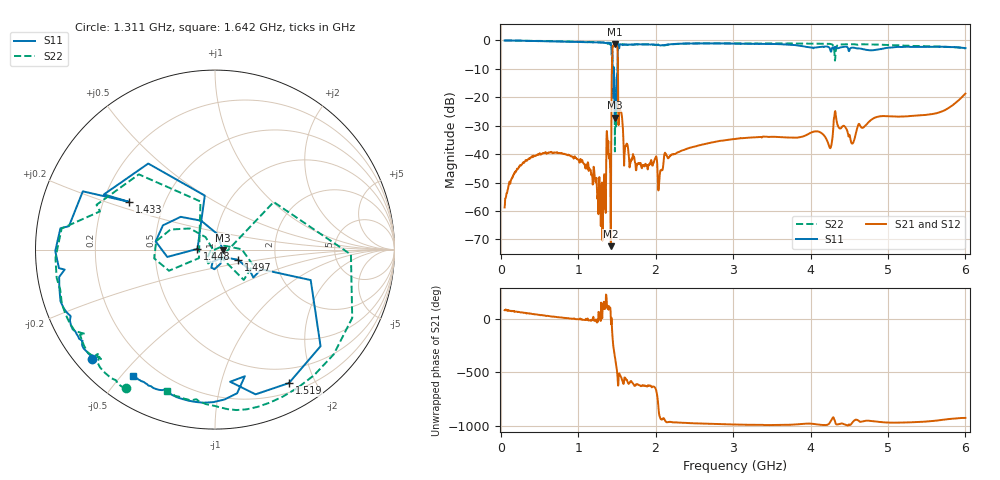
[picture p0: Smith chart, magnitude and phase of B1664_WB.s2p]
! Matrix data file written by TouchstoneData, EPCOS AG
! FILENAME: "B1664.WB.1.snp"
! COMMENT: "(B1664.WB.1.s2p)"
! INFO: nport=2, nfreq=1601
! DATE: "Tue Apr  9 11:16:39 2013"
! USER: "Adrian Ma"
! port | pin | signal
!  1  |  2  |  IN
!  2  |  5  |  OUT
# MHZ S RI R 50
! freq  reS11 imS11  reS21 imS21  reS12 imS12  reS22 imS22
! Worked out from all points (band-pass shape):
!   1601 points, 50 MHz to 6 GHz, reference 50 ohm
!   highest |S21| = -1.23 dB at 1.474 GHz (marker M1); lowest = -72.4 dB at 1.422 GHz (marker M2)
!   |S21| within 3 dB of the highest: 1.442 GHz to 1.509 GHz (66.93 MHz wide, 4.54 % of centre)
!   lowest |S11| = -27.2 dB at 1.474 GHz (marker M3), VSWR 1.09, Z = 54.6 - j0.319 ohm
!   |S11| at or under -10 dB: 1.444 GHz to 1.455 GHz (10.4 MHz wide, 0.718 % of centre); 1.46 GHz to 1.508 GHz (48.79 MHz wide, 3.29 % of centre)
!   |S22| runs from -39.1 to 0.0 dB; largest |S21 - S12| = 0.0024
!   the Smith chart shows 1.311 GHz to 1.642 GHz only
!   S11 on the Smith chart (normalised r, x): 1.311 GHz: 0.05, -0.38; 1.433 GHz: 0.31, +0.24; 1.448 GHz: 0.82, +0.01; 1.497 GHz: 1.28, -0.15; 1.519 GHz: 0.31, -1.65; 1.642 GHz: 0.11, -0.54
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50  0.9877 -0.1063  0.000197 0.00113  0.000206 0.00113  0.9921 -0.0815
377.25  0.7001 -0.6843  0.00549 0.00632  0.00549 0.00633  0.8081 -0.5628
1042.906  -0.3077 -0.8811  0.00729 -0.000621  0.0073 -0.000624  -0.0601 -0.9404
1310.656  -0.684 -0.6084  0.00119 0.000116  0.00119 0.00012  -0.4967 -0.7715
1399.906  -0.8647 -0.2426  -0.0039 0.00777  -0.00391 0.00776  -0.7239 -0.4698
1422.219  -0.8611 0.1188  0.000235 -4.89e-05  0.000226 -4.38e-05  -0.8822 -0.1578
1433.375  -0.4793 0.2661  0.1807 -0.1737  0.1809 -0.1734  -0.6406 0.213
1448.25  -0.0976 0.0041  -0.6379 0.5025  -0.6385 0.5011  -0.0894 -0.0474
1474.281  0.0438 -0.00292  0.8628 0.0981  0.8629 0.1001  -0.0111 -0.000327
1496.594  0.1279 -0.0563  -0.1094 -0.8261  -0.1075 -0.8266  0.1495 0.00164
1518.906  0.4118 -0.7437  -0.00791 0.0323  -0.00795 0.0323  0.7646 -0.3806
1556.094  -0.1806 -0.8327  -0.0542 0.00595  -0.0542 0.00589  0.0309 -0.8796
1641.625  -0.4596 -0.7036  -0.0075 0.0109  -0.00754 0.0109  -0.2699 -0.7863
2035.812  -0.7139 -0.4235  -0.000521 -0.00223  -0.000523 -0.00224  -0.6219 -0.5705
2136.219  -0.7254 -0.4176  -0.00493 0.00851  -0.00495 0.0085  -0.641 -0.524
3025  -0.8755 -0.00925  -0.00161 0.0184  -0.00161 0.0183  -0.8763 -0.0952
4017.906  -0.7101 0.2338  -0.00496 0.0237  -0.00499 0.0236  -0.8406 0.2505
4252.188  -0.634 0.3104  -0.00552 0.0115  -0.00552 0.0115  -0.7846 0.371
4326.562  -0.7104 0.2778  -0.00936 0.0475  -0.00948 0.0474  -0.6594 0.06
4542.25  -0.6921 0.2779  -0.00634 0.014  -0.00634 0.0139  -0.7833 0.3455
5010.812  -0.696 0.2635  -0.0181 0.0426  -0.0182 0.0426  -0.6778 0.4804
6000  -0.4804 0.5519  -0.1061 0.0465  -0.1062 0.0464  -0.212 0.6899
